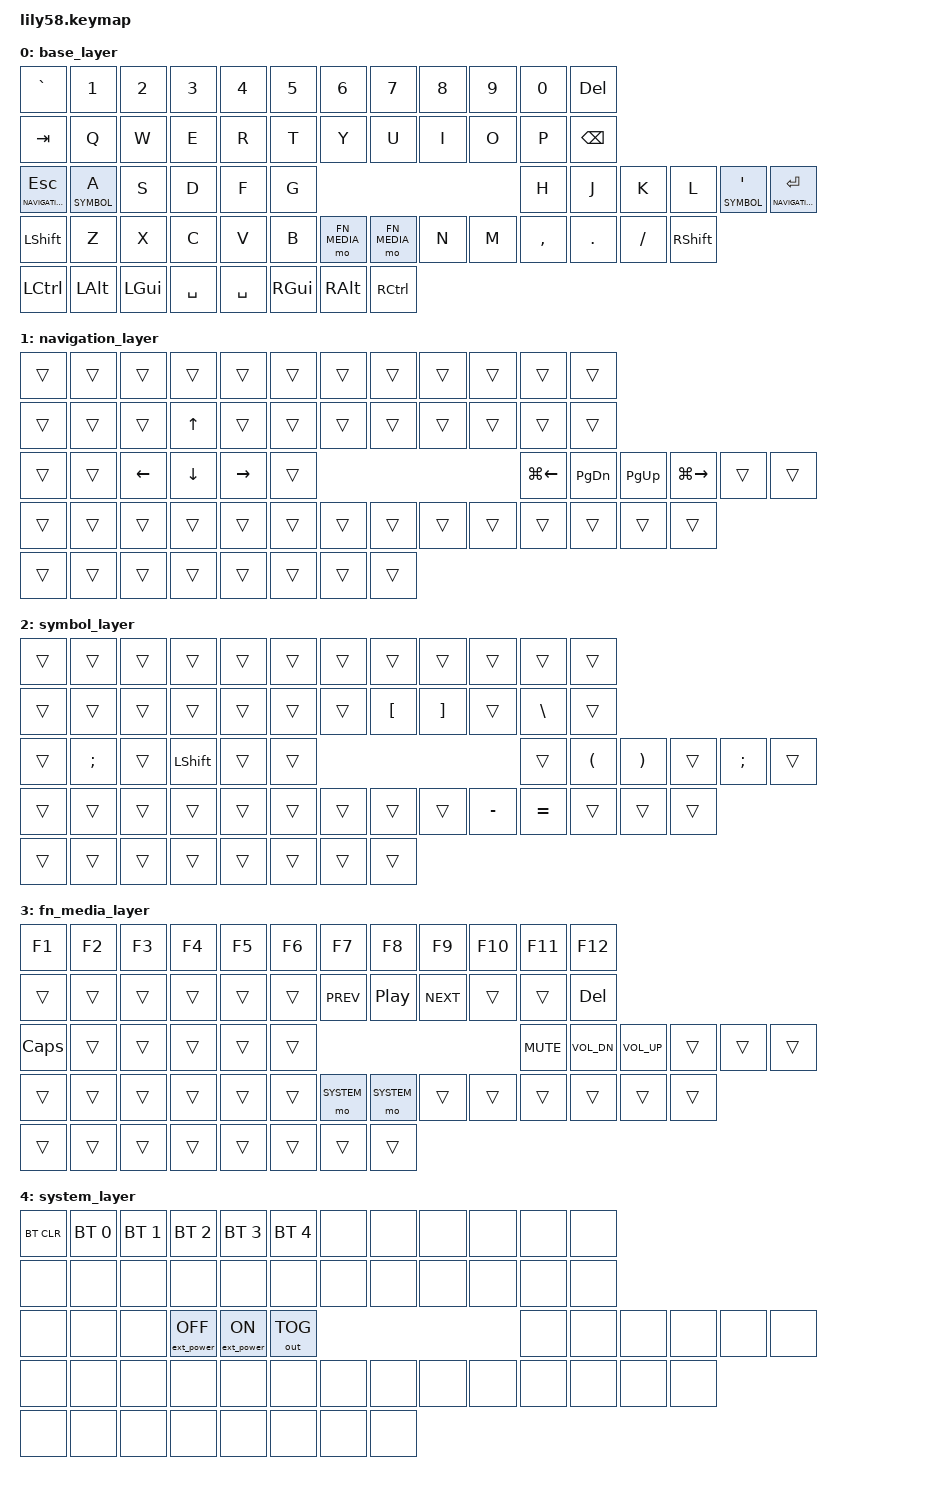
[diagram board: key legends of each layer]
/*
 * Copyright (c) 2020 The ZMK Contributors
 *
 * SPDX-License-Identifier: MIT
 */

#include <behaviors.dtsi>
#include <dt-bindings/zmk/keys.h>
#include <dt-bindings/zmk/bt.h>
#include <dt-bindings/zmk/ext_power.h>
#include <dt-bindings/zmk/outputs.h>

#define BASE 0
#define NAVIGATION 1
#define SYMBOL 2
#define FN_MEDIA 3
#define SYSTEM 4

/ {
    behaviors {
        nav_tap: nav_tap_behavior {
            compatible = "zmk,behavior-hold-tap";
            #binding-cells = <2>;
            flavor = "tap-preferred";
            tapping-term-ms = <165>;
            bindings = <&mo>, <&kp>;
        };

        symbol_left: symbol_left_behavior {
            compatible = "zmk,behavior-hold-tap";
            #binding-cells = <2>;
            flavor = "balanced";
            tapping-term-ms = <165>;
            quick-tap-ms = <165>;
            require-prior-idle-ms = <20>;
            hold-trigger-key-positions = <6 7 8 9 10 11
                                           18 19 20 21 22 23
                                           30 31 32 33 34 35
                                           43 44 45 46 47 48 49
                                           54 55 56 57>;
            hold-trigger-on-release;
            bindings = <&mo>, <&kp>;
        };

        symbol_right: symbol_right_behavior {
            compatible = "zmk,behavior-hold-tap";
            #binding-cells = <2>;
            flavor = "balanced";
            tapping-term-ms = <165>;
            quick-tap-ms = <165>;
            require-prior-idle-ms = <20>;
            hold-trigger-key-positions = <0 1 2 3 4 5
                                           12 13 14 15 16 17
                                           24 25 26 27 28 29
                                           36 37 38 39 40 41 42
                                           50 51 52 53>;
            hold-trigger-on-release;
            bindings = <&mo>, <&kp>;
        };
    };

    keymap {
        compatible = "zmk,keymap";

        base_layer {
            // ------------------------------------------------------------------------------------------------------------
            // | GRAVE | N1 | N2 | N3 | N4 | N5 |                 | N6 | N7 | N8 | N9 | N0 | DEL |
            // | TAB   | Q  | W  | E  | R  | T  |                 | Y  | U  | I  | O  | P  | BSPC|
            // | NAV/ESC | SYM/A | S | D | F | G |                 | H | J | K | L | SYM/SQT | NAV/RET |
            // | LSHFT | Z | X | C | V | B | FN_MEDIA | FN_MEDIA | N | M | COMMA | DOT | FSLH | RSHFT |
            //                           | LCTRL | LALT | LGUI | SPACE | SPACE | RGUI | RALT | RCTRL |
            bindings = <
                &kp GRAVE &kp N1 &kp N2 &kp N3 &kp N4 &kp N5 &kp N6 &kp N7 &kp N8 &kp N9 &kp N0 &kp DEL
                &kp TAB &kp Q &kp W &kp E &kp R &kp T &kp Y &kp U &kp I &kp O &kp P &kp BSPC
                &nav_tap NAVIGATION ESC &symbol_left SYMBOL A &kp S &kp D &kp F &kp G &kp H &kp J &kp K &kp L &symbol_right SYMBOL SQT &nav_tap NAVIGATION RET
                &kp LSHFT &kp Z &kp X &kp C &kp V &kp B &mo FN_MEDIA &mo FN_MEDIA &kp N &kp M &kp COMMA &kp DOT &kp FSLH &kp RSHFT
                &kp LCTRL &kp LALT &kp LGUI &kp SPACE &kp SPACE &kp RGUI &kp RALT &kp RCTRL
            >;
        };

        navigation_layer {
            // ------------------------------------------------------------------------------------------------------------
            // | TRANS | TRANS | TRANS | TRANS | TRANS | TRANS |                 | TRANS | TRANS | TRANS | TRANS | TRANS | TRANS |
            // | TRANS | TRANS | TRANS | UP    | TRANS | TRANS |                 | TRANS | TRANS | TRANS | TRANS | TRANS | TRANS |
            // | TRANS | TRANS | LEFT  | DOWN  | RIGHT | TRANS |                 | LG/LEFT | PG_DN | PG_UP | LG/RIGHT | TRANS | TRANS |
            // | TRANS | TRANS | TRANS | TRANS | TRANS | TRANS | TRANS | TRANS | TRANS | TRANS | TRANS | TRANS | TRANS | TRANS |
            //                           | TRANS | TRANS | TRANS | TRANS | TRANS | TRANS | TRANS | TRANS |
            bindings = <
                &trans &trans &trans &trans &trans &trans &trans &trans &trans &trans &trans &trans
                &trans &trans &trans &kp UP &trans &trans &trans &trans &trans &trans &trans &trans
                &trans &trans &kp LEFT &kp DOWN &kp RIGHT &trans &kp LG(LEFT) &kp PG_DN &kp PG_UP &kp LG(RIGHT) &trans &trans
                &trans &trans &trans &trans &trans &trans &trans &trans &trans &trans &trans &trans &trans &trans
                &trans &trans &trans &trans &trans &trans &trans &trans
            >;
        };

        symbol_layer {
            // ------------------------------------------------------------------------------------------------------------
            // | TRANS | TRANS | TRANS | TRANS | TRANS | TRANS |                 | TRANS | TRANS | TRANS | TRANS | TRANS | TRANS |
            // | TRANS | TRANS | TRANS | TRANS | TRANS | TRANS |                 | TRANS | LBKT  | RBKT  | TRANS | BSLH  | TRANS |
            // | TRANS | SEMI  | TRANS | LSHFT | TRANS | TRANS |                 | TRANS | LPAR  | RPAR  | TRANS | SEMI  | TRANS |
            // | TRANS | TRANS | TRANS | TRANS | TRANS | TRANS | TRANS | TRANS | TRANS | MINUS | EQUAL | TRANS | TRANS | TRANS |
            //                           | TRANS | TRANS | TRANS | TRANS | TRANS | TRANS | TRANS | TRANS |
            bindings = <
                &trans &trans &trans &trans &trans &trans &trans &trans &trans &trans &trans &trans
                &trans &trans &trans &trans &trans &trans &trans &kp LBKT &kp RBKT &trans &kp BSLH &trans
                &trans &kp SEMI &trans &kp LSHFT &trans &trans &trans &kp LPAR &kp RPAR &trans &kp SEMI &trans
                &trans &trans &trans &trans &trans &trans &trans &trans &trans &kp MINUS &kp EQUAL &trans &trans &trans
                &trans &trans &trans &trans &trans &trans &trans &trans
            >;
        };

        fn_media_layer {
            // ------------------------------------------------------------------------------------------------------------
            // | F1 | F2 | F3 | F4 | F5 | F6 |                 | F7 | F8 | F9 | F10 | F11 | F12 |
            // | TRANS | TRANS | TRANS | TRANS | TRANS | TRANS |                 | C_PREV | C_PP | C_NEXT | TRANS | TRANS | DEL |
            // | CAPS | TRANS | TRANS | TRANS | TRANS | TRANS |                 | C_MUTE | C_VOL_DN | C_VOL_UP | TRANS | TRANS | TRANS |
            // | TRANS | TRANS | TRANS | TRANS | TRANS | TRANS | MO_SYSTEM | MO_SYSTEM | TRANS | TRANS | TRANS | TRANS | TRANS | TRANS |
            //                           | TRANS | TRANS | TRANS | TRANS | TRANS | TRANS | TRANS | TRANS |
            bindings = <
                &kp F1 &kp F2 &kp F3 &kp F4 &kp F5 &kp F6 &kp F7 &kp F8 &kp F9 &kp F10 &kp F11 &kp F12
                &trans &trans &trans &trans &trans &trans &kp C_PREV &kp C_PP &kp C_NEXT &trans &trans &kp DEL
                &kp CAPS &trans &trans &trans &trans &trans &kp C_MUTE &kp C_VOL_DN &kp C_VOL_UP &trans &trans &trans
                &trans &trans &trans &trans &trans &trans &mo SYSTEM &mo SYSTEM &trans &trans &trans &trans &trans &trans
                &trans &trans &trans &trans &trans &trans &trans &trans
            >;
        };

        system_layer {
            // ------------------------------------------------------------------------------------------------------------
            // | BT_CLR | BT_SEL 0 | BT_SEL 1 | BT_SEL 2 | BT_SEL 3 | BT_SEL 4 |                 | NONE | NONE | NONE | NONE | NONE | NONE |
            // | NONE   | NONE      | NONE      | NONE      | NONE      | NONE      |                 | NONE | NONE | NONE | NONE | NONE | NONE |
            // | NONE   | NONE      | NONE      | EP_OFF    | EP_ON     | OUT_TOG   |                 | NONE | NONE | NONE | NONE | NONE | NONE |
            // | NONE   | NONE      | NONE      | NONE      | NONE      | NONE      | NONE | NONE | NONE | NONE | NONE | NONE | NONE | NONE |
            //                           | NONE | NONE | NONE | NONE | NONE | NONE | NONE | NONE |
            bindings = <
                &bt BT_CLR &bt BT_SEL 0 &bt BT_SEL 1 &bt BT_SEL 2 &bt BT_SEL 3 &bt BT_SEL 4 &none &none &none &none &none &none
                &none &none &none &none &none &none &none &none &none &none &none &none
                &none &none &none &ext_power EP_OFF &ext_power EP_ON &out OUT_TOG &none &none &none &none &none &none
                &none &none &none &none &none &none &none &none &none &none &none &none &none &none
                &none &none &none &none &none &none &none &none
            >;
        };
    };
};
